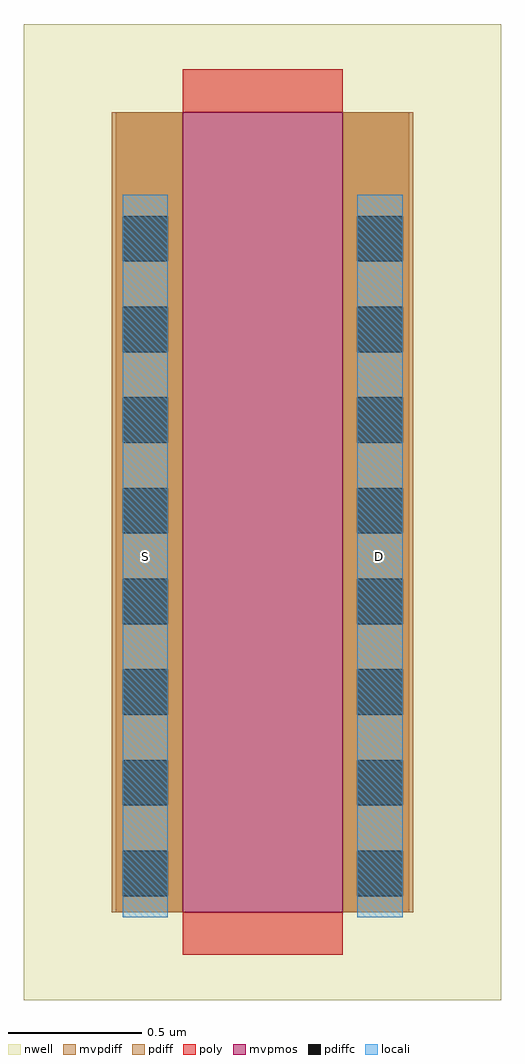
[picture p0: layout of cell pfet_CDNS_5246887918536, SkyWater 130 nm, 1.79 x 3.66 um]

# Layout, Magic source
magic
tech sky130B
magscale 1 2
<< nwell >>
rect -119 -66 239 666
<< mvpmos >>
rect 0 0 120 600
<< mvpdiff >>
rect -50 0 0 600
rect 120 0 170 600
<< poly >>
rect 0 600 120 632
rect 0 -32 120 0
<< locali >>
rect -45 -4 -11 538
rect 131 -4 165 538
use DFL1sd_CDNS_5246887918534  DFL1sd_CDNS_5246887918534_0
transform -1 0 0 0 1 0
box -36 -36 89 636
use DFL1sd_CDNS_5246887918534  DFL1sd_CDNS_5246887918534_1
transform 1 0 120 0 1 0
box -36 -36 89 636
<< labels >>
flabel comment s -28 267 -28 267 0 FreeSans 300 0 0 0 S
flabel comment s 148 267 148 267 0 FreeSans 300 0 0 0 D
<< properties >>
string GDS_END 89242044
string GDS_FILE $PDKPATH/libs.ref/sky130_fd_io/gds/sky130_fd_io.gds
string GDS_START 89241030
<< end >>

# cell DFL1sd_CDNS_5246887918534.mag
magic
tech sky130B
magscale 1 2
<< nwell >>
rect -36 -36 89 636
<< pdiff >>
rect 0 522 53 600
rect 0 488 11 522
rect 45 488 53 522
rect 0 454 53 488
rect 0 420 11 454
rect 45 420 53 454
rect 0 386 53 420
rect 0 352 11 386
rect 45 352 53 386
rect 0 318 53 352
rect 0 284 11 318
rect 45 284 53 318
rect 0 250 53 284
rect 0 216 11 250
rect 45 216 53 250
rect 0 182 53 216
rect 0 148 11 182
rect 45 148 53 182
rect 0 114 53 148
rect 0 80 11 114
rect 45 80 53 114
rect 0 46 53 80
rect 0 12 11 46
rect 45 12 53 46
rect 0 0 53 12
<< pdiffc >>
rect 11 488 45 522
rect 11 420 45 454
rect 11 352 45 386
rect 11 284 45 318
rect 11 216 45 250
rect 11 148 45 182
rect 11 80 45 114
rect 11 12 45 46
<< locali >>
rect 11 522 45 538
rect 11 454 45 488
rect 11 386 45 420
rect 11 318 45 352
rect 11 250 45 284
rect 11 182 45 216
rect 11 114 45 148
rect 11 46 45 80
rect 11 -4 45 12
<< properties >>
string GDS_END 7602338
string GDS_FILE $PDKPATH/libs.ref/sky130_fd_io/gds/sky130_fd_io.gds
string GDS_START 7601566
<< end >>
